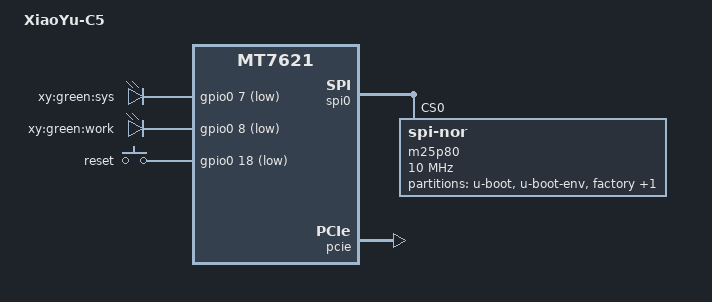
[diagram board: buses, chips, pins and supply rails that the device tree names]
/dts-v1/;

#include "mt7621.dtsi"

#include <dt-bindings/gpio/gpio.h>
#include <dt-bindings/input/input.h>

/ {
	compatible = "xiaoyu-c5", "mediatek,mt7621-soc";
	model = "XiaoYu-C5";

	chosen {
		bootargs = "console=ttyS0,57600";
	};

	gpio-leds {
		compatible = "gpio-leds";

		led_system:system {
			label = "xy:green:sys";
			gpios = <&gpio0 7 GPIO_ACTIVE_LOW>;
		};

		work {
			label = "xy:green:work";
			gpios = <&gpio0 8 GPIO_ACTIVE_LOW>;
		};
	};

	gpio-keys-polled {
		compatible = "gpio-keys-polled";
		#address-cells = <1>;
		#size-cells = <0>;
		poll-interval = <20>;

		reset {
			label = "reset";
			gpios = <&gpio0 18 GPIO_ACTIVE_LOW>;
			linux,code = <KEY_RESTART>;
		};
	};
};

&spi0 {
	status = "okay";

	m25p80@0 {
		#address-cells = <1>;
		#size-cells = <1>;
		compatible = "jedec,spi-nor";
		reg = <0>;
		spi-max-frequency = <10000000>;
		m25p,chunked-io = <32>;
		apply-4byte-shutdown;

		partition@0 {
			label = "u-boot";
			reg = <0x0 0x30000>;
			read-only;
		};

		partition@30000 {
			label = "u-boot-env";
			reg = <0x30000 0x10000>;
			read-only;
		};

		factory: partition@40000 {
			label = "factory";
			reg = <0x40000 0x10000>;
			read-only;
		};

		partition@50000 {
			label = "firmware";
			reg = <0x50000 0x1fb0000>;
		};
	};
};

&pcie {
	status = "okay";
};

&ethernet {
	mtd-mac-address = <&factory 0x4>;
};

&pinctrl {
	state_default: pinctrl0 {
		gpio {
			ralink,group = "wdt", "uart3";
			ralink,function = "gpio";
		};
	};
};
